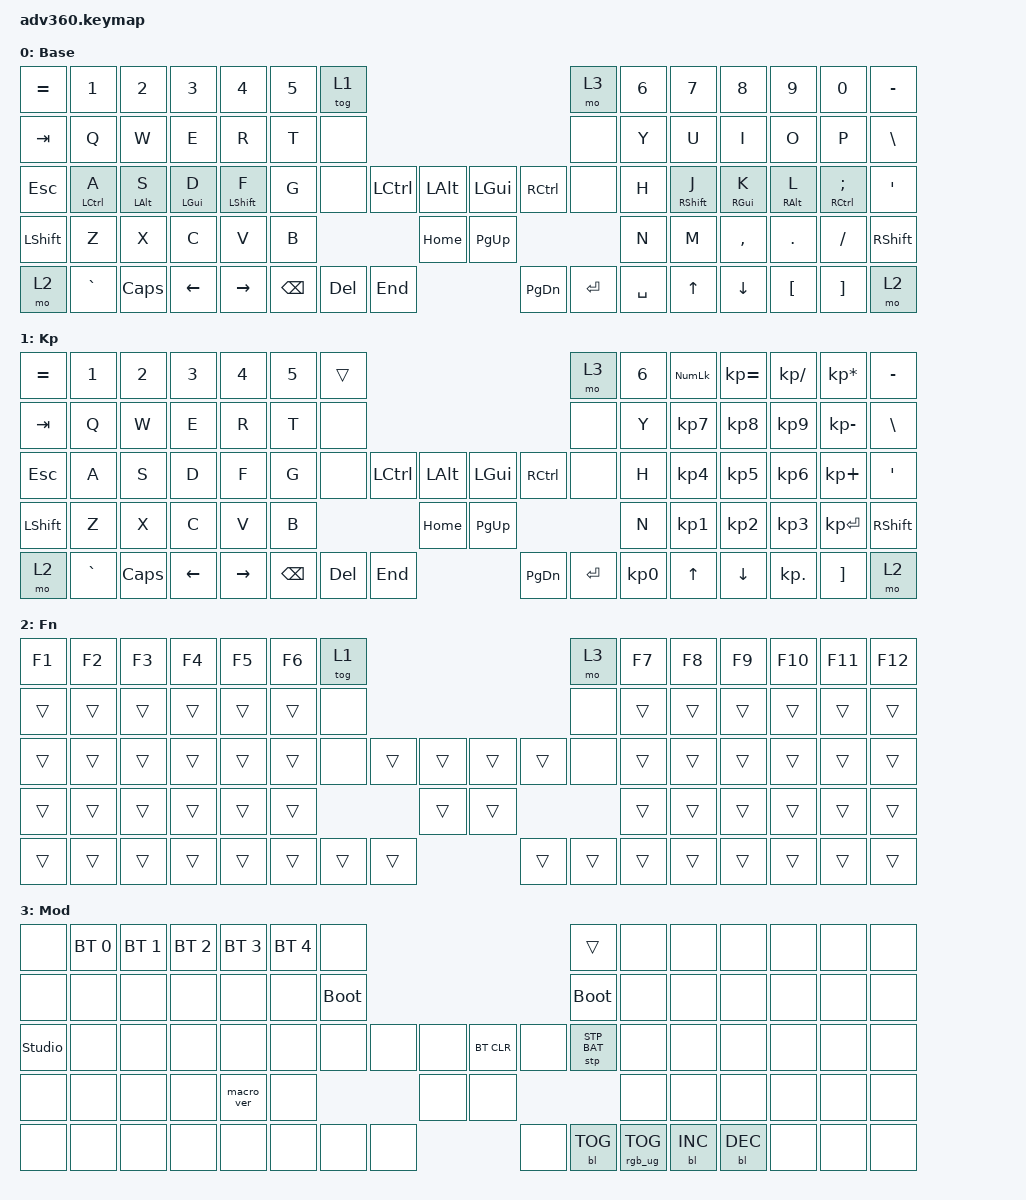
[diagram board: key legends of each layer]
#include <behaviors.dtsi>
#include <dt-bindings/zmk/keys.h>
#include <dt-bindings/zmk/bt.h>
#include <dt-bindings/zmk/rgb.h>
#include <dt-bindings/zmk/stp.h>
#include <dt-bindings/zmk/backlight.h>
#include <dt-bindings/zmk/pointing.h>

/ {
    behaviors {
      #include "macros.dtsi"
      #include "version.dtsi"

      // left hand homerow mods - activate only on opposite hand keypresses
      hml: homerow_mod_left {
          compatible = "zmk,behavior-hold-tap";
          #binding-cells = <2>;
          flavor = "balanced";
          tapping-term-ms = <200>;
          bindings = <&kp>, <&kp>;
          // ALL RIGHT HAND keys (so left mods only activate with right hand keys)
          hold-trigger-key-positions = <
              7 8 9 10 11 12 13           // right side row 0
              21 22 23 24 25 26 27        // right side row 1  
              37 38 39 40 41 42 43 44 45  // right side row 2 (homerow + thumbs)
              53 54 55 56 57 58 59        // right side row 3
              68 69 70 71 72 73 74 75     // right side row 4 (thumbs)
          >;
          hold-trigger-on-release;
      };
      
      // Right hand homerow mods - activate only on opposite hand keypresses
      hmr: homerow_mod_right {
          compatible = "zmk,behavior-hold-tap";
          #binding-cells = <2>;
          flavor = "balanced";
          tapping-term-ms = <200>;
          bindings = <&kp>, <&kp>;
          // ALL LEFT HAND keys (so right mods only activate with left hand keys)
          hold-trigger-key-positions = <
              0 1 2 3 4 5 6               // left side row 0
              14 15 16 17 18 19 20        // left side row 1
              28 29 30 31 32 33 34 35 36  // left side row 2 (homerow + thumbs)
              46 47 48 49 50 51 52        // left side row 3
              60 61 62 63 64 65 66 67     // left side row 4 (thumbs)
          >;
          hold-trigger-on-release;
      };
    };

  keymap {
    compatible = "zmk,keymap";

    default_layer {
      display-name = "Base";
      bindings = <
        &kp EQUAL &kp N1    &kp N2   &kp N3   &kp N4     &kp N5 &tog 1                                                           &mo 3 &kp N6 &kp N7 &kp N8    &kp N9   &kp N0   &kp MINUS
        &kp TAB   &kp Q     &kp W    &kp E    &kp R      &kp T  &none                                                            &none &kp Y  &kp U  &kp I     &kp O    &kp P    &kp BSLH
        &kp ESC   &hml LCTRL A  &hml LALT S  &hml LGUI D  &hml LSHFT F  &kp G  &none  &kp LCTRL &kp LALT &kp LGUI  &kp RCTRL  &none &kp H  &hmr RSHFT J  &hmr RGUI K  &hmr RALT L  &hmr RCTRL SEMI  &kp SQT
        &kp LSHFT &kp Z     &kp X    &kp C    &kp V      &kp B                            &kp HOME &kp PG_UP                           &kp N  &kp M  &kp COMMA &kp DOT  &kp FSLH &kp RSHFT
        &mo 2     &kp GRAVE &kp CAPS &kp LEFT &kp RIGHT                &kp BSPC &kp DEL   &kp END  &kp PG_DN &kp ENTER &kp SPACE              &kp UP &kp DOWN  &kp LBKT &kp RBKT &mo 2
      >;
    };
    keypad {
      display-name = "Kp";
      bindings = <
        &kp EQUAL &kp N1    &kp N2   &kp N3   &kp N4     &kp N5 &trans                                                           &mo 3 &kp N6 &kp KP_NUM &kp KP_EQUAL &kp KP_DIVIDE &kp KP_MULTIPLY &kp MINUS
        &kp TAB   &kp Q     &kp W    &kp E    &kp R      &kp T  &none                                                            &none &kp Y  &kp KP_N7  &kp KP_N8    &kp KP_N9     &kp KP_MINUS    &kp BSLH
        &kp ESC   &kp A     &kp S    &kp D    &kp F      &kp G  &none           &kp LCTRL &kp LALT &kp LGUI  &kp RCTRL           &none &kp H  &kp KP_N4  &kp KP_N5    &kp KP_N6     &kp KP_PLUS     &kp SQT
        &kp LSHFT &kp Z     &kp X    &kp C    &kp V      &kp B                            &kp HOME &kp PG_UP                           &kp N  &kp KP_N1  &kp KP_N2    &kp KP_N3     &kp KP_ENTER    &kp RSHFT
        &mo 2     &kp GRAVE &kp CAPS &kp LEFT &kp RIGHT                &kp BSPC &kp DEL   &kp END  &kp PG_DN &kp ENTER &kp KP_N0              &kp UP     &kp DOWN     &kp KP_DOT    &kp RBKT        &mo 2
      >;
    };
    fn {
      display-name = "Fn";
      bindings = <
        &kp F1 &kp F2 &kp F3 &kp F4 &kp F5 &kp F6 &tog 1                                           &mo 3 &kp F7 &kp F8 &kp F9 &kp F10 &kp F11 &kp F12
        &trans &trans &trans &trans &trans &trans  &none                                           &none &trans &trans &trans &trans  &trans  &trans
        &trans &trans &trans &trans &trans &trans  &none        &trans &trans &trans &trans        &none &trans &trans &trans &trans  &trans  &trans
        &trans &trans &trans &trans &trans &trans                      &trans &trans                     &trans &trans &trans &trans  &trans  &trans
        &trans &trans &trans &trans &trans               &trans &trans &trans &trans &trans &trans              &trans &trans &trans  &trans  &trans
      >;
    };
    mod {
      display-name = "Mod";
      bindings = <
        &none &bt BT_SEL 0 &bt BT_SEL 1 &bt BT_SEL 2 &bt BT_SEL 3 &bt BT_SEL 4 &none                                                                     &trans                 &none        &none        &none        &none &none &none
        &none &none        &none        &none        &none        &none        &bootloader                                                               &bootloader            &none        &none        &none        &none &none &none
        &studio_unlock &none        &none        &none        &none        &none        &none                   &none &none &bt BT_CLR &none                      &stp STP_BAT &none        &none        &none        &none &none &none
        &none &none        &none        &none        &macro_ver   &none                                      &none &none                                                        &none        &none        &none        &none &none &none
        &none &none        &none        &none        &none                                       &none &none &none &none      &bl BL_TOG &rgb_ug RGB_TOG                                     &bl BL_INC   &bl BL_DEC   &none &none &none
      >;
    };
    extra1 { 
      display-name = "Red";    
      status = "reserved";
    };

    extra2 { 
      display-name = "Purple";    
      status = "reserved";
    };

    extra3 { 
      display-name = "Cyan";    
      status = "reserved";
    };

    extra4 { 
      display-name = "Yellow";    
      status = "reserved";
    };
  };
};
